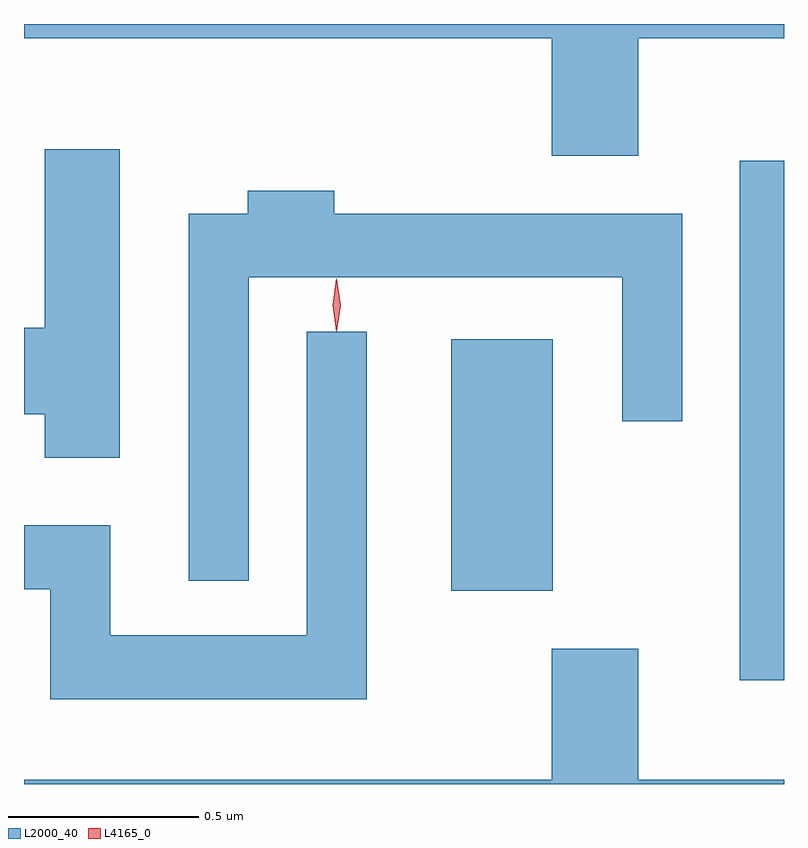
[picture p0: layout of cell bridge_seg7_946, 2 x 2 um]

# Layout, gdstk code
import gdstk
lib = gdstk.Library(unit=1e-6, precision=1e-09)
def R(c, l, rs):  # rectangles x0, y0, x1, y1
    for r in rs: c.add(gdstk.rectangle(r[:2], r[2:], *l))
def P(c, l, *ps):  # polygons
    for p in ps: c.add(gdstk.Polygon(p, *l))
L2000_40 = (2000, 40)
L4165_0 = (4165, 0)

bridge_seg7_946 = lib.new_cell('bridge_seg7_946')
R(bridge_seg7_946, L2000_40, [(421.366,1705.966,421.482,1707.333), (420.606,1706.201,420.874,1706.864)])
P(bridge_seg7_946, L2000_40, [(421.099,1707.656),(421.482,1707.656),(421.482,1707.693),(419.482,1707.693),(419.482,1707.656),(420.871,1707.656),(420.871,1707.346),(421.099,1707.346)],
  [(419.734,1707.364),(419.536,1707.364),(419.536,1706.894),(419.482,1706.894),(419.482,1706.666),(419.536,1706.666),(419.536,1706.551),(419.734,1706.551)],
  [(420.074,1707.026),(421.056,1707.026),(421.056,1706.648),(421.214,1706.648),(421.214,1707.194),(420.299,1707.194),(420.299,1707.254),(420.071,1707.254),(420.071,1707.194),(419.916,1707.194),(419.916,1706.228),(420.074,1706.228)],
  [(420.384,1706.883),(420.226,1706.883),(420.226,1706.084),(419.709,1706.084),(419.709,1706.374),(419.482,1706.374),(419.482,1706.206),(419.551,1706.206),(419.551,1705.916),(420.384,1705.916)],
  [(421.482,1705.704),(421.099,1705.704),(421.099,1706.049),(420.871,1706.049),(420.871,1705.704),(419.482,1705.704),(419.482,1705.693),(421.482,1705.693)])
P(bridge_seg7_946, L4165_0, [(420.304,1706.884),(420.295,1706.953),(420.304,1707.023),(420.305,1707.023),(420.305,1707.023),(420.315,1706.953),(420.305,1706.884),(420.305,1706.884)],
  [(420.304,1706.887),(420.294,1706.954),(420.304,1707.02),(420.304,1707.02),(420.305,1707.02),(420.314,1706.954),(420.305,1706.887),(420.305,1706.887)])

lib.write_gds('bridge_seg7_946.gds')
